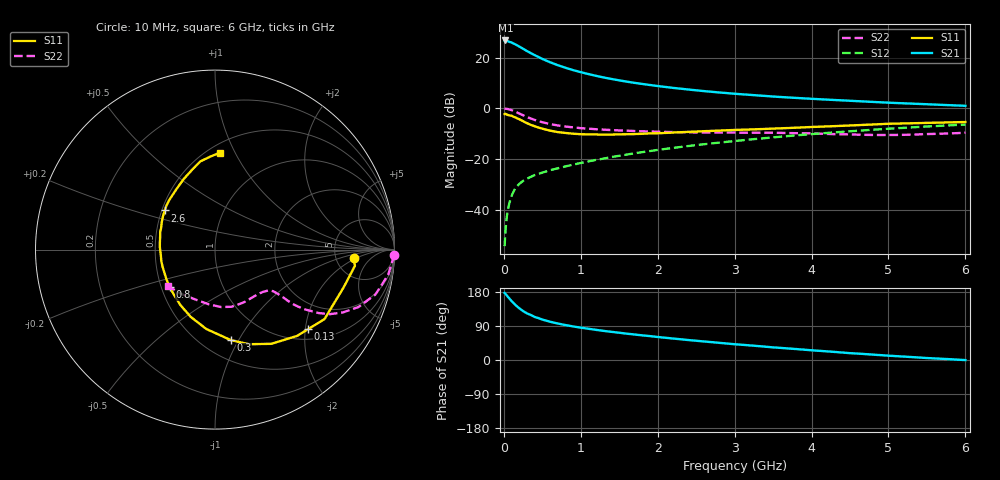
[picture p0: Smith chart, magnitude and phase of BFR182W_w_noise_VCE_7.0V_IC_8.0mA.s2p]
! (c) 2017  Infineon Technologies AG, Munich
! Infineon Technologies  Discrete & RF Semiconductors
! BFR182W
! VCE =  7.0 V,  IC =  8.0 mA
! Common Emitter S-Parameters:  Jan 2017
# GHz  S  MA  R  50
!  f  S11  S21  S12  S22
! GHz  MAG  ANG  MAG  ANG  MAG  ANG  MAG  ANG
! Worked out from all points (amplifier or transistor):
!   77 points, 10 MHz to 6 GHz, reference 50 ohm
!   highest |S21| = 26.9 dB at 20 MHz (marker M1)
!   |S21| within 3 dB of that: start of sweep to 234.5 MHz
!   unconditionally stable (mu >= 1): 1.176 GHz to 2.691 GHz
!   at 130 MHz: K = 0.24, MSG = 29.1 dB, |S12| = -32.6 dB
!   at 2.2 GHz: K = 1.03, MAG = 10.8 dB, |S12| = -15.6 dB
!   at 6 GHz: K = 0.85, MSG = 3.7 dB, |S12| = -6.4 dB
!   lowest NFmin = 1.00 dB at 450 MHz
!   S11 on the Smith chart (normalised r, x): 10 MHz: 7.44, -1.70; 130 MHz: 1.25, -2.07; 300 MHz: 0.68, -0.93; 800 MHz: 0.55, -0.26; 2.6 GHz: 0.52, +0.26; 6 GHz: 0.57, +0.87
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0.01  0.7735 -3.4  21.87 177.0  0.0019 86.6  0.9964 -1.6
0.02  0.7849 -6.6  22.05 174.7  0.0036 93.9  0.9913 -3.4
0.05  0.7465 -16.5  21.38 167.4  0.0095 83.2  0.9752 -8.3
0.1  0.7227 -32.4  20.14 155.7  0.0185 75.3  0.9277 -15.7
0.13  0.6823 -40.5  19.05 149.7  0.0234 71.4  0.8866 -19.3
0.15  0.6637 -46.4  18.46 145.3  0.0267 69.6  0.8613 -21.8
0.2  0.6118 -59.1  16.73 136.6  0.0321 66.1  0.7947 -26.1
0.25  0.5599 -70.3  15.13 129.1  0.0371 62.7  0.7331 -29.4
0.3  0.5124 -80.0  13.62 123.1  0.0409 60.3  0.6765 -31.5
0.4  0.4452 -96.2  11.3 113.7  0.0482 58.6  0.5932 -33.9
0.5  0.3986 -109.8  9.508 106.7  0.0539 57.9  0.5341 -34.9
0.6  0.3645 -121.8  8.197 101.0  0.0603 58.5  0.492 -35.1
0.7  0.3412 -131.7  7.163 96.3  0.0655 59.4  0.4618 -35.0
0.8  0.3279 -140.3  6.376 92.2  0.0715 61.1  0.4396 -35.1
1.1  0.3072 -162.2  4.773 82.4  0.0899 62.6  0.3983 -35.6
1.5  0.3077 177.3  3.587 71.9  0.1161 63.9  0.3681 -38.7
2.1  0.328 155.5  2.659 58.7  0.1586 63.6  0.3438 -47.1
2.6  0.3551 142.1  2.203 48.9  0.1959 61.9  0.3352 -56.7
3.1  0.3797 130.6  1.903 40.1  0.2352 59.3  0.3321 -66.3
4.1  0.4355 112.3  1.522 24.2  0.3193 52.2  0.3176 -86.4
5.1  0.5017 98.1  1.281 10.2  0.4056 43.3  0.2995 -115.5
6  0.5394 87.3  1.127 -0.2  0.4806 34.2  0.3311 -142.1
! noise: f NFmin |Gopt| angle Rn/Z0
0.45  1  0.12  39  0.15
0.9  1.08  0.12  69  0.15
1.9  1.59  0.18  -174  0.13
2.4  1.85  0.18  -169  0.19
